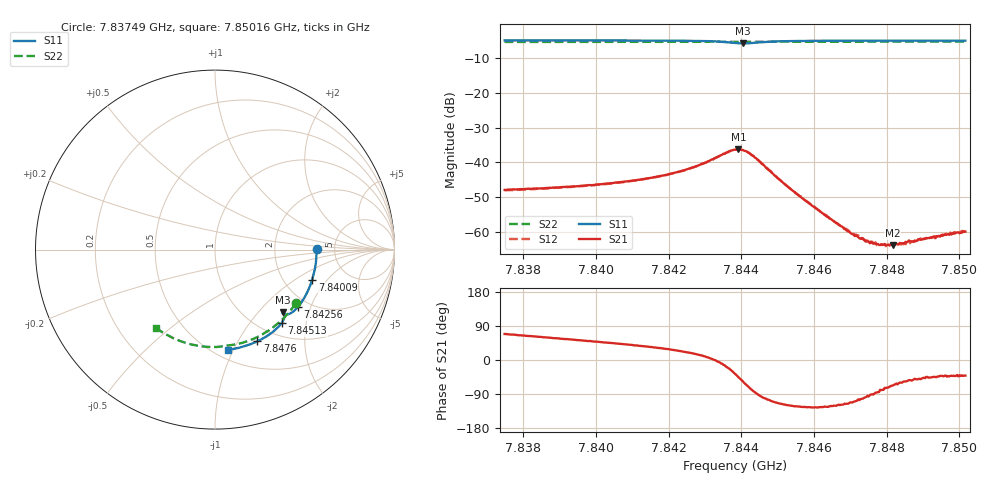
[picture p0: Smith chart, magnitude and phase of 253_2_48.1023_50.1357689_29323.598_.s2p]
#  HZ  S  RI  R  50.00
! Rohde & Schwarz Vector Network Analyzer
! Rohde-Schwarz,ZNB20-2Port,1311601062101988,3.16
! Created: UTC 12/23/2023, 4:00:00 AM
! freq[Hz]  re:S11  im:S11  re:S21  im:S21  re:S12  im:S12  re:S22  im:S22
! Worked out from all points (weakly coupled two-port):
!   401 points, 7.83749 GHz to 7.85016 GHz, reference 50 ohm
!   highest |S21| = -36.30 dB at 7.84392 GHz (marker M1); lowest = -63.9 dB at 7.84817 GHz (marker M2)
!   lowest |S11| = -5.8 dB at 7.84405 GHz (marker M3), VSWR 3.12, Z = 71.8 - j68.4 ohm
!   |S11| at or under -10 dB: nowhere
!   |S22| runs from -5.4 to -5.3 dB; largest |S21 - S12| = 0.00029
!   S11 on the Smith chart (normalised r, x): 7.83749 GHz: 3.61, +0.04; 7.84009 GHz: 2.85, -1.41; 7.84256 GHz: 1.74, -1.63; 7.84513 GHz: 1.24, -1.46; 7.8476 GHz: 0.81, -1.21; 7.85016 GHz: 0.58, -0.95
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7.83749e9  0.5665 0.00353  0.00146 0.00373  0.00148 0.00366  0.4493 -0.2991
7.839613e9  0.5502 -0.137  0.00286 0.00357  0.00278 0.00358  0.3515 -0.4107
7.840088e9  0.5415 -0.1677  0.00324 0.00354  0.00323 0.00352  0.3256 -0.4316
7.841735e9  0.4961 -0.2711  0.00533 0.00331  0.00529 0.00331  0.227 -0.4914
7.842559e9  0.4617 -0.3203  0.0076 0.00269  0.00756 0.00271  0.173 -0.513
7.843351e9  0.4126 -0.3589  0.0119 -0.000863  0.012 -0.00087  0.1191 -0.5272
7.843826e9  0.3786 -0.3579  0.0122 -0.00894  0.0121 -0.00901  0.0874 -0.532
7.843921e9  0.3759 -0.3545  0.0107 -0.0109  0.0108 -0.0107  0.0813 -0.5328
7.844048e9  0.3761 -0.3504  0.00816 -0.0126  0.00819 -0.0125  0.0734 -0.534
7.844175e9  0.3797 -0.3498  0.00505 -0.013  0.00506 -0.013  0.0655 -0.5354
7.844396e9  0.3861 -0.3581  0.000633 -0.0115  0.000637 -0.0115  0.051 -0.5379
7.845125e9  0.3723 -0.4075  -0.00231 -0.00465  -0.00231 -0.00466  3.73e-05 -0.5427
7.845949e9  0.3312 -0.4512  -0.00135 -0.00194  -0.00138 -0.00195  -0.0583 -0.5406
7.847058e9  0.2678 -0.4945  -0.000344 -0.000855  -0.000327 -0.00087  -0.1351 -0.5273
7.84747e9  0.243 -0.5075  -5.53e-05 -0.000726  -0.000116 -0.000737  -0.1629 -0.5198
7.847596e9  0.2354 -0.5112  -5.38e-06 -0.000691  4.71e-06 -0.000718  -0.1714 -0.517
7.847786e9  0.2236 -0.5165  6.06e-05 -0.000643  5.44e-05 -0.000627  -0.184 -0.5128
7.848071e9  0.2061 -0.5238  0.000212 -0.000605  0.000221 -0.000587  -0.2027 -0.5058
7.848166e9  0.1999 -0.5262  0.000246 -0.000591  0.00028 -0.000598  -0.209 -0.5035
7.848452e9  0.1821 -0.5327  0.000369 -0.000575  0.000334 -0.000569  -0.2275 -0.4956
7.848863e9  0.1558 -0.5411  0.000497 -0.000601  0.000486 -0.000576  -0.2534 -0.4831
7.850162e9  0.071 -0.5579  0.000757 -0.000661  0.000771 -0.000682  -0.3304 -0.4347
